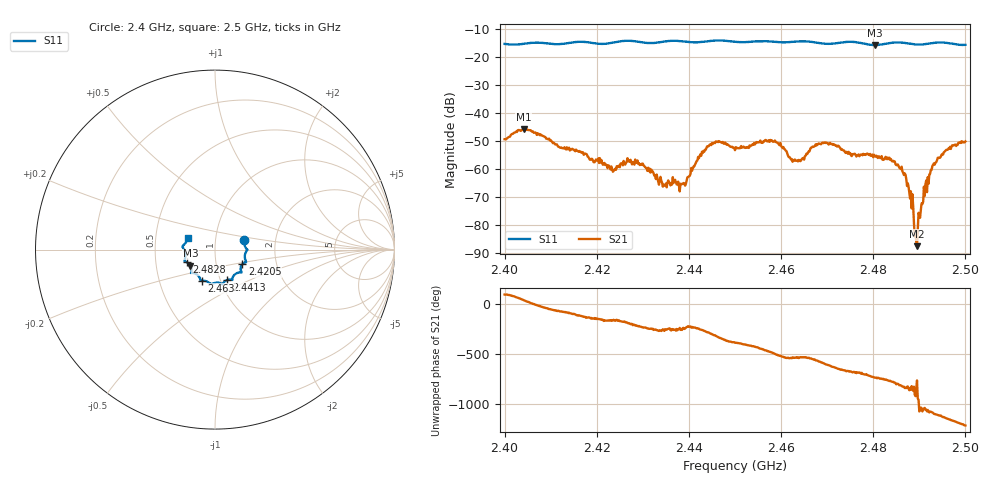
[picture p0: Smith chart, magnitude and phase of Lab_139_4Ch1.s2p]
# Hz S RI R 50
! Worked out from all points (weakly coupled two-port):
!   601 points, 2.4 GHz to 2.5 GHz, reference 50 ohm
!   highest |S21| = -45.76 dB at 2.4042 GHz (marker M1); lowest = -87.4 dB at 2.4895 GHz (marker M2)
!   lowest |S11| = -15.7 dB at 2.4803 GHz (marker M3), VSWR 1.39, Z = 37.4 - j6.84 ohm
!   |S11| at or under -10 dB: start of sweep to end of sweep
!   S12 and S22 are empty: the file has one direction only
!   S11 on the Smith chart (normalised r, x): 2.4 GHz: 1.38, +0.15; 2.4205 GHz: 1.34, -0.22; 2.4413 GHz: 1.08, -0.38; 2.463 GHz: 0.82, -0.29; 2.4828 GHz: 0.72, -0.10; 2.5 GHz: 0.73, +0.10
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2.4e9  0.163 0.0526  4.91e-05 0.00343  0 0  0 0
2.404167e9  0.1722 0.00861  0.00441 0.00266  0 0  0 0
2.416667e9  0.1735 -0.0697  -0.00111 -0.00163  0 0  0 0
2.4205e9  0.152 -0.0809  -0.00117 -0.000539  0 0  0 0
2.4235e9  0.1433 -0.1099  -0.000871 -0.000239  0 0  0 0
2.428833e9  0.1393 -0.1267  -0.00108 0.000953  0 0  0 0
2.433333e9  0.1003 -0.1514  3.74e-06 0.000601  0 0  0 0
2.438333e9  0.0928 -0.1678  -0.00015 0.000521  0 0  0 0
2.441333e9  0.0677 -0.1695  -0.00063 0.00103  0 0  0 0
2.4455e9  0.0425 -0.1916  0.00208 0.00211  0 0  0 0
2.45e9  0.0247 -0.1856  0.0019 -0.00109  0 0  0 0
2.458167e9  -0.0317 -0.1851  -0.00204 -0.00236  0 0  0 0
2.463e9  -0.0721 -0.1736  -0.00149 -9.75e-06  0 0  0 0
2.466667e9  -0.0815 -0.1673  -0.00241 0.000419  0 0  0 0
2.4695e9  -0.0937 -0.1449  -0.00154 0.00258  0 0  0 0
2.480333e9  -0.1373 -0.089  0.00167 -0.000459  0 0  0 0
2.482833e9  -0.1586 -0.07  0.00134 -0.000931  0 0  0 0
2.483333e9  -0.1625 -0.0682  0.00106 -0.00109  0 0  0 0
2.486667e9  -0.1693 -0.0583  -0.000223 -0.000756  0 0  0 0
2.4895e9  -0.1644 -0.029  3.06e-05 -2.95e-05  0 0  0 0
2.493e9  -0.1778 0.00952  0.00119 -0.000144  0 0  0 0
2.5e9  -0.152 0.064  -0.00203 -0.00238  0 0  0 0
